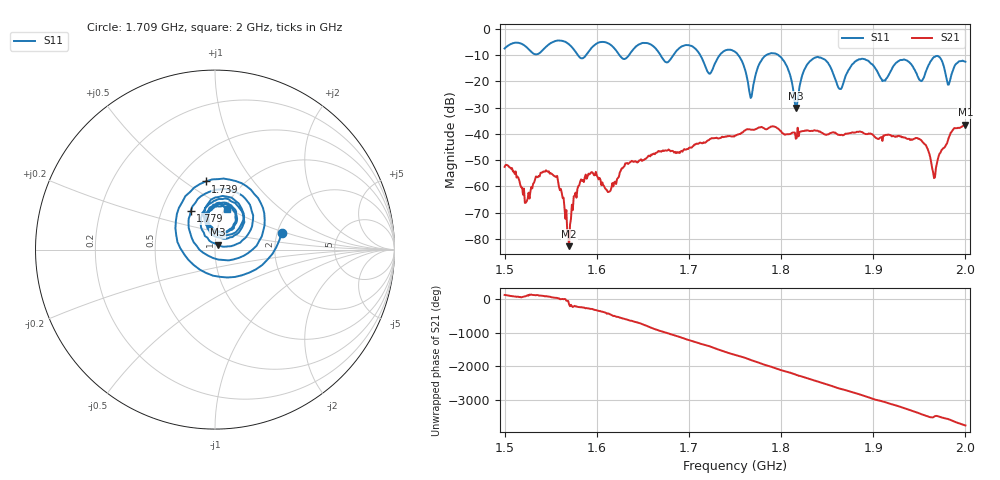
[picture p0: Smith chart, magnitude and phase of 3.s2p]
! NanoVNA-App by SYSJOINT et al v1.1.209 (+OD18)
! Date: 2026-01-21 14:19:42
! Start: 1,5GHz Stop: 2GHz Points: 501
! S-Parameter data: F S11 S21 S12 S22
# Hz S RI R 50
!  Frequency  S11_Real  S11_Imag  S21_Real  S21_Imag  S12_Real  S12_Imag  S22_Real  S22_Imag
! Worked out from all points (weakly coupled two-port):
!   501 points, 1.5 GHz to 2 GHz, reference 50 ohm
!   highest |S21| = -36.56 dB at 2 GHz (marker M1); lowest = -82.8 dB at 1.57 GHz (marker M2)
!   lowest |S11| = -30.2 dB at 1.816 GHz (marker M3), VSWR 1.06, Z = 51.4 + j2.83 ohm
!   |S11| at or under -10 dB: 1.712 GHz to 1.734 GHz (21.41 MHz wide, 1.24 % of centre); 1.753 GHz to 1.784 GHz (30.65 MHz wide, 1.73 % of centre); 1.797 GHz to end of sweep (the widest 3 of 6)
!   S12 and S22 are empty: the file has one direction only
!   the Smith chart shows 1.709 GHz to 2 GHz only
!   S11 on the Smith chart (normalised r, x): 1.709 GHz: 2.11, +0.46; 1.739 GHz: 0.68, +0.61; 1.779 GHz: 0.70, +0.32; 2 GHz: 1.02, +0.49
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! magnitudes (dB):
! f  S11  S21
! 1.5 GHz  -7.5  -52.6
! 1.524 GHz  -7.1  -65.7
! 1.555 GHz  -4.7  -56.2
! 1.57 GHz  -6.0  -82.8
! 1.584 GHz  -11.3  -57.9
! 1.667 GHz  -8.9  -46.5
! 1.709 GHz  -8.4  -43.8
! 1.722 GHz  -17.1  -42.3
! 1.739 GHz  -8.3  -41.2
! 1.75 GHz  -8.8  -40.7
! 1.767 GHz  -26.4  -38.4
! 1.779 GHz  -11.9  -37.4
! 1.801 GHz  -11.4  -39.7
! 1.816 GHz  -30.2  -41.9
! 1.834 GHz  -11.6  -38.9
! 1.864 GHz  -22.9  -40.5
! 1.886 GHz  -11.6  -39.2
! 1.917 GHz  -17.4  -40.3
! 1.952 GHz  -19.9  -42.4
! 1.966 GHz  -10.7  -56.9
! 1.982 GHz  -21.3  -41.4
! 2 GHz  -12.6  -36.6
